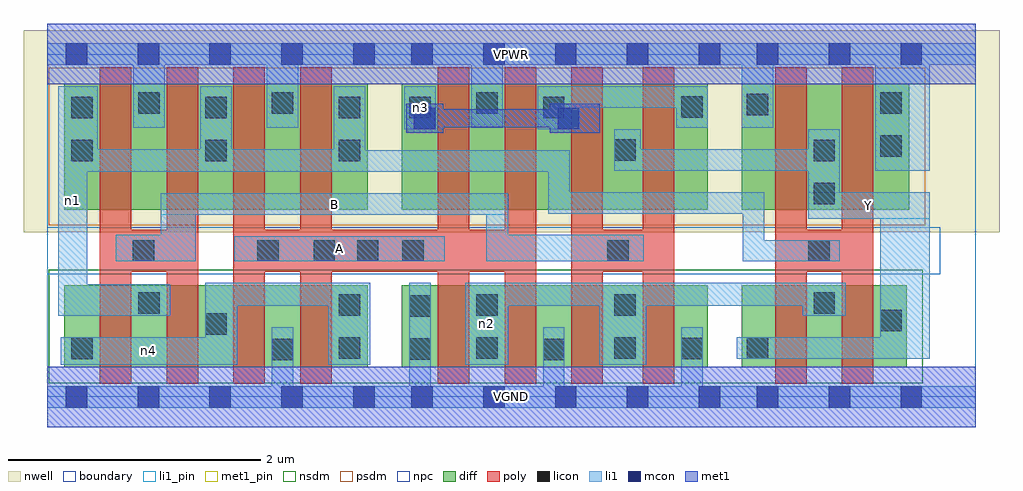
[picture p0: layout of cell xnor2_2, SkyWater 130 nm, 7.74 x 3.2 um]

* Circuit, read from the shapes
.subckt xnor2_2 A B VGND VPWR Y n1 n2 n3 n4
XM1 n1 B n4 VSUBS sky130_fd_pr__nfet_01v8 w=0.65 l=0.25 m=2
XM2 VGND A n4 VSUBS sky130_fd_pr__nfet_01v8 w=0.65 l=0.25 m=2
XM3 n2 A VGND VSUBS sky130_fd_pr__nfet_01v8 w=0.65 l=0.25 m=2
XM4 n2 B VGND VSUBS sky130_fd_pr__nfet_01v8 w=0.65 l=0.25 m=2
XM5 n2 n1 Y VSUBS sky130_fd_pr__nfet_01v8 w=0.65 l=0.25 m=2
XM6 VPWR B n1 n5 sky130_fd_pr__pfet_01v8 w=1 l=0.25 m=2
XM7 VPWR A n1 n5 sky130_fd_pr__pfet_01v8 w=1 l=0.25 m=2
XM8 VPWR A n3 n5 sky130_fd_pr__pfet_01v8 w=1 l=0.25 m=2
XM9 Y B n3 n5 sky130_fd_pr__pfet_01v8 w=1 l=0.25 m=2
XM10 Y n1 VPWR n5 sky130_fd_pr__pfet_01v8 w=1 l=0.25 m=2
.ends

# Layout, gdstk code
import gdstk
lib = gdstk.Library(unit=1e-6, precision=1e-09)
def R(c, l, rs):  # rectangles x0, y0, x1, y1
    for r in rs: c.add(gdstk.rectangle(r[:2], r[2:], *l))
def A(c, l, x, y, w, h, nx, ny, dx, dy):  # array of equal rectangles
    R(c, l, [(x+i*dx, y+j*dy, x+i*dx+w, y+j*dy+h) for i in range(nx) for j in range(ny)])
nwell = (64, 20)
diff = (65, 20)
poly = (66, 20)
licon = (66, 44)
li1_pin = (67, 16)
li1 = (67, 20)
mcon = (67, 44)
met1_pin = (68, 16)
met1 = (68, 20)
nsdm = (93, 44)
psdm = (94, 20)
npc = (95, 20)
boundary = (235, 4)

xnor2_2 = lib.new_cell('xnor2_2')
R(xnor2_2, nwell, [(-0.19,1.305,7.55,2.91), (0,1.305,7.36,2.91)])
R(xnor2_2, diff, [(0.135,0.235,2.54,0.885), (2.81,0.235,5.235,0.885), (5.505,0.235,6.815,0.885), (0.135,1.485,2.54,2.485), (2.81,1.485,5.235,2.485), (5.505,1.485,6.835,2.485)])
A(xnor2_2, poly, 0.415, 0.105, 0.25, 2.51, 4, 1, 0.53, 0)
A(xnor2_2, poly, 3.095, 0.105, 0.25, 2.51, 3, 1, 0.53, 0)
R(xnor2_2, poly, [(4.72,0.105,4.97,2.615), (5.77,0.105,6.02,2.615), (6.3,0.105,6.55,2.615), (0.415,0.995,1.195,1.325), (1.475,0.995,3.875,1.325), (4.155,0.995,4.97,1.325), (5.77,0.995,6.55,1.325)])
A(xnor2_2, licon, 0.19, 1.87, 0.17, 0.17, 3, 2, 1.06, 0.34)
R(xnor2_2, licon, [(1.78,0.29,1.95,0.46), (3.93,0.29,4.1,0.46), (2.87,0.295,3.04,0.465), (0.19,0.3,0.36,0.47), (5.025,0.3,5.195,0.47), (2.31,0.305,2.48,0.475), (3.4,0.305,3.57,0.475), (4.495,0.305,4.665,0.475), (5.545,0.305,5.715,0.475), (1.25,0.495,1.42,0.665), (6.605,0.52,6.775,0.69), (2.87,0.635,3.04,0.805), (2.31,0.645,2.48,0.815), (3.4,0.645,3.57,0.815), (4.495,0.645,4.665,0.815), (0.72,0.66,0.89,0.83), (6.075,0.66,6.245,0.83), (0.675,1.075,0.845,1.245), (1.665,1.075,1.835,1.245), (2.11,1.075,2.28,1.245), (2.455,1.075,2.625,1.245), (2.815,1.075,2.985,1.245), (4.44,1.075,4.61,1.245), (6.035,1.075,6.205,1.245), (6.075,1.53,6.245,1.7), (6.075,1.87,6.245,2.04), (4.495,1.875,4.665,2.045), (6.605,1.905,6.775,2.075), (2.87,2.21,3.04,2.38), (3.93,2.21,4.1,2.38), (5.025,2.215,5.195,2.385), (5.545,2.235,5.715,2.405), (0.72,2.245,0.89,2.415), (1.78,2.245,1.95,2.415), (3.4,2.245,3.57,2.415), (6.605,2.245,6.775,2.415)])
R(xnor2_2, li1_pin, [(1.48,1.075,3.15,1.275), (6.035,1.415,6.995,1.625), (0.9,1.445,3.655,1.615)])
R(xnor2_2, li1, [(0,-0.085,7.36,0.085), (1.78,-0.085,1.95,0.555), (2.87,-0.085,3.04,0.905), (3.93,-0.085,4.1,0.555), (5.025,-0.085,5.195,0.555), (0.105,0.255,1.505,0.475), (1.25,0.255,1.505,0.905), (2.225,0.255,2.56,0.905), (3.315,0.255,3.655,0.905), (4.375,0.255,4.75,0.905), (5.465,0.305,6.995,0.475), (6.605,0.305,6.995,1.625), (0.085,0.645,0.315,2.465), (0.085,0.645,0.975,0.895), (5.99,0.645,6.33,0.905), (1.25,0.725,2.56,0.905), (3.315,0.725,6.33,0.905), (0.54,1.075,1.175,1.285), (0.9,1.075,1.175,1.615), (1.48,1.075,3.15,1.275), (3.48,1.075,4.73,1.285), (3.48,1.075,3.655,1.615), (5.515,1.075,6.285,1.245), (5.515,1.075,5.685,1.625), (6.035,1.415,6.285,2.125), (6.035,1.415,6.995,1.625), (0.9,1.445,3.655,1.615), (3.97,1.455,5.685,1.625), (3.97,1.455,4.14,1.955), (0.085,1.785,4.14,1.955), (0.085,1.785,0.4,2.465), (0.085,1.785,2.52,1.965), (1.21,1.785,1.46,2.465), (2.27,1.785,2.52,2.465), (4.495,1.795,6.285,1.965), (4.495,1.795,4.705,2.125), (6.565,1.795,6.995,2.805), (2.83,2.125,3.08,2.465), (3.89,2.125,4.22,2.465), (0.68,2.135,0.93,2.805), (1.74,2.135,1.99,2.805), (3.36,2.135,3.61,2.805), (4.985,2.135,5.235,2.465), (5.505,2.135,5.755,2.805), (3.89,2.295,5.235,2.465), (0,2.635,7.36,2.805)])
A(xnor2_2, mcon, 0.145, -0.085, 0.17, 0.17, 5, 2, 0.57, 2.72)
A(xnor2_2, mcon, 2.885, -0.085, 0.17, 0.17, 5, 2, 0.57, 2.72)
A(xnor2_2, mcon, 5.625, -0.085, 0.17, 0.17, 3, 2, 0.57, 2.72)
R(xnor2_2, mcon, [(2.905,2.125,3.075,2.295), (4.045,2.125,4.215,2.295)])
R(xnor2_2, met1_pin, [(0,-0.24,7.36,0.24), (0,2.48,7.36,2.96)])
R(xnor2_2, met1, [(0,-0.24,7.36,0.24), (2.845,2.095,3.14,2.325), (3.985,2.095,4.38,2.325), (2.845,2.14,4.38,2.28), (0,2.48,7.36,2.96)])
R(xnor2_2, nsdm, [(0.01,0.11,6.94,1.01)])
R(xnor2_2, psdm, [(0.01,1.36,6.96,2.61)])
R(xnor2_2, npc, [(0,0.975,7.08,1.345)])
R(xnor2_2, boundary, [(0,0,7.36,2.72)])
xnor2_2.add(gdstk.Label('A', (2.315,1.175), layer=67, texttype=5))
xnor2_2.add(gdstk.Label('B', (2.277,1.53), layer=67, texttype=5))
xnor2_2.add(gdstk.Label('Y', (6.515,1.52), layer=67, texttype=5))
xnor2_2.add(gdstk.Label('n4', (0.805,0.365), layer=67, texttype=5))
xnor2_2.add(gdstk.Label('n2', (3.485,0.58), layer=67, texttype=5))
xnor2_2.add(gdstk.Label('n1', (0.2,1.555), layer=67, texttype=5))
xnor2_2.add(gdstk.Label('n3', (2.955,2.295), layer=67, texttype=5))
xnor2_2.add(gdstk.Label('VPWR', (3.68,2.72), layer=68, texttype=5))
xnor2_2.add(gdstk.Label('VGND', (3.68,0), layer=68, texttype=5))
xnor2_2.add(gdstk.Label('A', (2.315,1.175), layer=67, texttype=16))
xnor2_2.add(gdstk.Label('B', (2.277,1.53), layer=67, texttype=16))
xnor2_2.add(gdstk.Label('Y', (6.515,1.52), layer=67, texttype=16))
xnor2_2.add(gdstk.Label('VPWR', (3.68,2.72), layer=68, texttype=16))
xnor2_2.add(gdstk.Label('VGND', (3.68,0), layer=68, texttype=16))

lib.write_gds('xnor2_2.gds')
